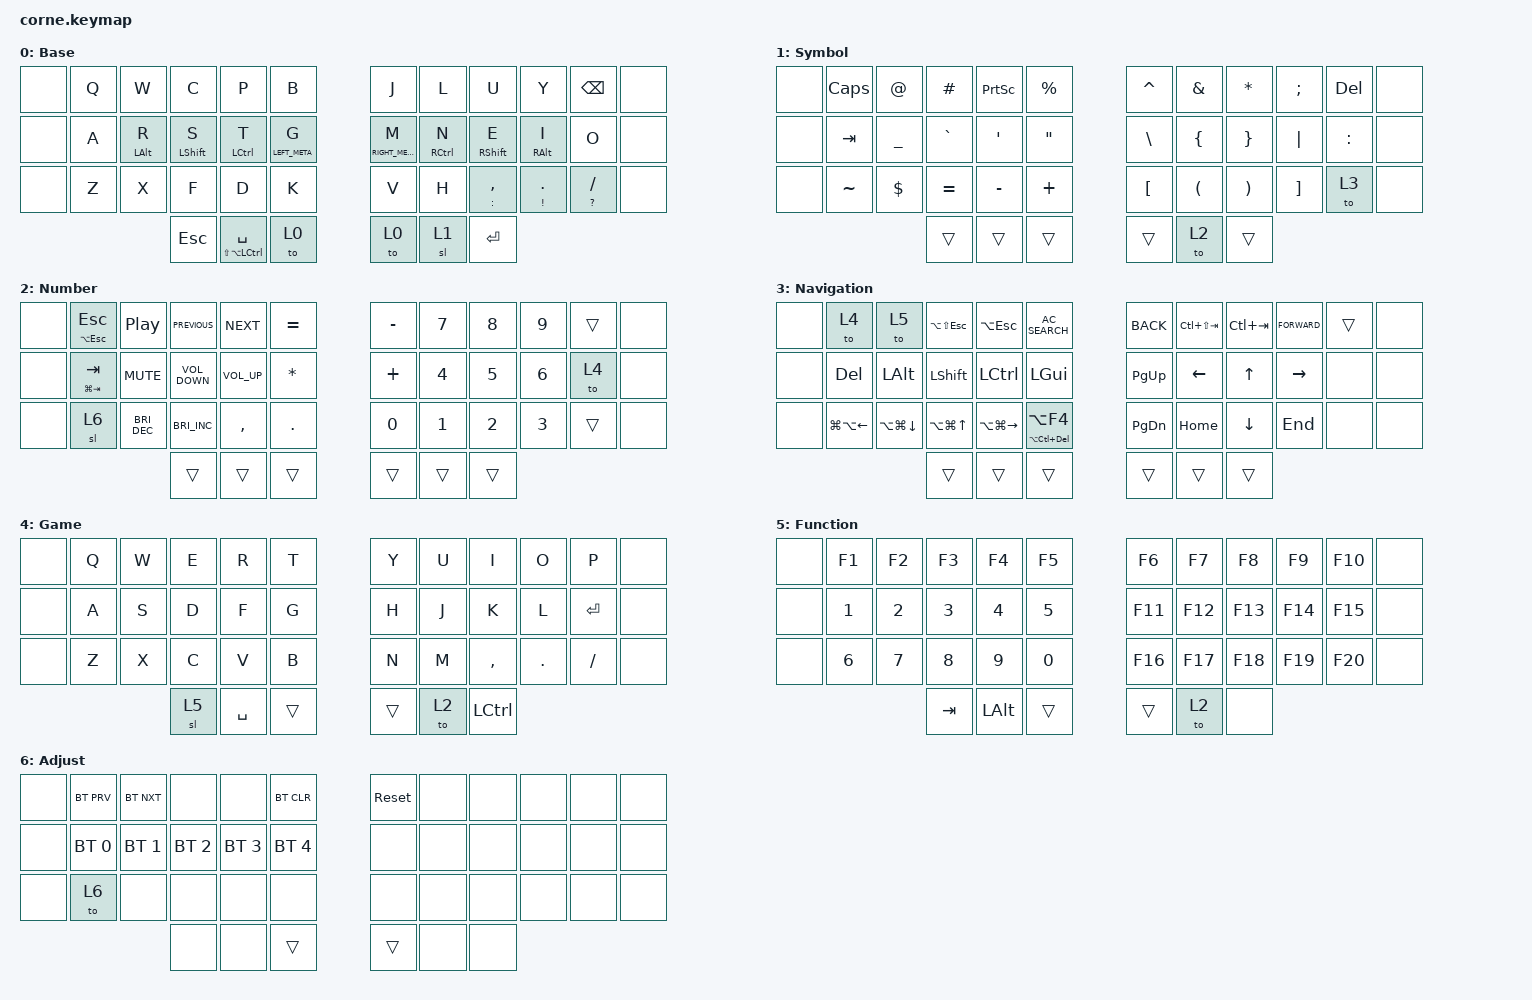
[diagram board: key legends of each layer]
/*
 * Copyright (c) 2020 The ZMK Contributors
 *
 * SPDX-License-Identifier: MIT
 */

#include <behaviors.dtsi>
#include <dt-bindings/zmk/bt.h>
#include <dt-bindings/zmk/keys.h>

&mt {
    quick-tap-ms = <170>;
    flavor = "balanced";
};

/ {
    keymap {
        compatible = "zmk,keymap";

        default_layer {
            // -----------------------------------------------------------------------------------------
            // |  TAB |  Q  |  W  |  E  |  R  |  T  |   |  Y  |  U   |  I  |  O  |  P  | BKSP |
            // | CTRL |  A  |  S  |  D  |  F  |  G  |   |  H  |  J   |  K  |  L  |  ;  |  '   |
            // | SHFT |  Z  |  X  |  C  |  V  |  B  |   |  N  |  M   |  ,  |  .  |  /  | ESC  |
            //                    | GUI | LWR | SPC |   | ENT | RSE  | ALT |

            label = "Base";
            bindings = <
&none  &kp Q  &kp W       &kp C        &kp P                    &kp B              &kp J             &kp L        &kp U            &kp Y                   &kp BACKSPACE       &none
&none  &kp A  &mt LALT R  &mt LSHFT S  &mt LCTRL T              &mt LEFT_META G    &mt RIGHT_META M  &mt RCTRL N  &mt RSHIFT E     &mt RALT I              &kp O               &none
&none  &kp Z  &kp X       &kp F        &kp D                    &kp K              &kp V             &kp H        &mt COLON COMMA  &mt EXCLAMATION PERIOD  &mt QUESTION SLASH  &none
                          &kp ESC      &mt LS(LA(LCTRL)) SPACE  &to 0              &to 0             &sl 1        &kp ENTER
            >;
        };

        symbol_layer {
            // -----------------------------------------------------------------------------------------
            // |  TAB |  1  |  2  |  3  |  4  |  5  |   |  6  |  7  |  8  |  9  |  0  | BKSP |
            // | BTCLR| BT1 | BT2 | BT3 | BT4 | BT5 |   | LFT | DWN |  UP | RGT |     |      |
            // | SHFT |     |     |     |     |     |   |     |     |     |     |     |      |
            //                    | GUI |     | SPC |   | ENT |     | ALT |

            label = "Symbol";
            bindings = <
&none  &kp CAPSLOCK  &kp AT      &kp HASH   &kp PRINTSCREEN  &kp PERCENT          &kp CARET         &kp AMPERSAND         &kp ASTERISK           &kp SEMICOLON      &kp DELETE  &none
&none  &kp TAB       &kp UNDER   &kp GRAVE  &kp SQT          &kp DOUBLE_QUOTES    &kp BACKSLASH     &kp LEFT_BRACE        &kp RIGHT_BRACE        &kp PIPE           &kp COLON   &none
&none  &kp TILDE     &kp DOLLAR  &kp EQUAL  &kp MINUS        &kp PLUS             &kp LEFT_BRACKET  &kp LEFT_PARENTHESIS  &kp RIGHT_PARENTHESIS  &kp RIGHT_BRACKET  &to 3       &none
                                 &trans     &trans           &trans               &trans            &to 2                 &trans
            >;
        };

        number_layer {
            // -----------------------------------------------------------------------------------------
            // |  TAB |  !  |  @  |  #  |  $  |  %  |   |  ^  |  &  |  *  |  (  |  )  | BKSP |
            // | CTRL |     |     |     |     |     |   |  -  |  =  |  [  |  ]  |  \  |  `   |
            // | SHFT |     |     |     |     |     |   |  _  |  +  |  {  |  }  | "|" |  ~   |
            //                    | GUI |     | SPC |   | ENT |     | ALT |

            label = "Number";
            bindings = <
&none  &mt LA(ESCAPE) ESCAPE  &kp C_PLAY_PAUSE      &kp C_PREVIOUS        &kp C_NEXT       &kp EQUAL       &kp MINUS  &kp N7  &kp N8  &kp N9  &trans  &none
&none  &mt LG(TAB) TAB        &kp C_MUTE            &kp C_VOLUME_DOWN     &kp C_VOLUME_UP  &kp ASTERISK    &kp PLUS   &kp N4  &kp N5  &kp N6  &to 4   &none
&none  &sl 6                  &kp C_BRIGHTNESS_DEC  &kp C_BRIGHTNESS_INC  &kp COMMA        &kp PERIOD      &kp N0     &kp N1  &kp N2  &kp N3  &trans  &none
                                                    &trans                &trans           &trans          &trans     &trans  &trans
            >;
        };

        navigation_layer {
            bindings = <
&none  &to 4             &to 5             &kp LA(LS(ESCAPE))  &kp LA(ESC)        &kp C_AC_SEARCH              &kp K_BACK     &kp LC(LS(TAB))  &kp LC(TAB)  &kp K_FORWARD  &trans  &none
&none  &kp DELETE        &kp LEFT_ALT      &kp LSHFT           &kp LCTRL          &kp LEFT_GUI                 &kp PAGE_UP    &kp LEFT         &kp UP       &kp RIGHT      &none   &none
&none  &kp LG(LA(LEFT))  &kp LA(LG(DOWN))  &kp LA(LG(UP))      &kp LA(LG(RIGHT))  &mt LA(LC(DELETE)) LA(F4)    &kp PAGE_DOWN  &kp HOME         &kp DOWN     &kp END        &none   &none
                                           &trans              &trans             &trans                       &trans         &trans           &trans
            >;

            label = "Navigation";
        };

        game_layer {
            bindings = <
&none  &kp Q  &kp W  &kp E  &kp R      &kp T     &kp Y   &kp U  &kp I      &kp O    &kp P      &none
&none  &kp A  &kp S  &kp D  &kp F      &kp G     &kp H   &kp J  &kp K      &kp L    &kp ENTER  &none
&none  &kp Z  &kp X  &kp C  &kp V      &kp B     &kp N   &kp M  &kp COMMA  &kp DOT  &kp FSLH   &none
                     &sl 5  &kp SPACE  &trans    &trans  &to 2  &kp LCTRL
            >;

            label = "Game";
        };

        function_layer {
            bindings = <
&none  &kp F1  &kp F2  &kp F3   &kp F4        &kp F5    &kp F6   &kp F7   &kp F8   &kp F9   &kp F10  &none
&none  &kp N1  &kp N2  &kp N3   &kp N4        &kp N5    &kp F11  &kp F12  &kp F13  &kp F14  &kp F15  &none
&none  &kp N6  &kp N7  &kp N8   &kp N9        &kp N0    &kp F16  &kp F17  &kp F18  &kp F19  &kp F20  &none
                       &kp TAB  &kp LEFT_ALT  &trans    &trans   &to 2    &none
            >;

            label = "Function";
        };

        adjust_layer {
            bindings = <
&none  &bt BT_PRV    &bt BT_NXT    &none         &none         &bt BT_CLR      &sys_reset  &none  &none  &none  &none  &none
&none  &bt BT_SEL 0  &bt BT_SEL 1  &bt BT_SEL 2  &bt BT_SEL 3  &bt BT_SEL 4    &none       &none  &none  &none  &none  &none
&none  &to 6         &none         &none         &none         &none           &none       &none  &none  &none  &none  &none
                                   &none         &none         &trans          &trans      &none  &none
            >;

            label = "Adjust";
        };
    };
};
